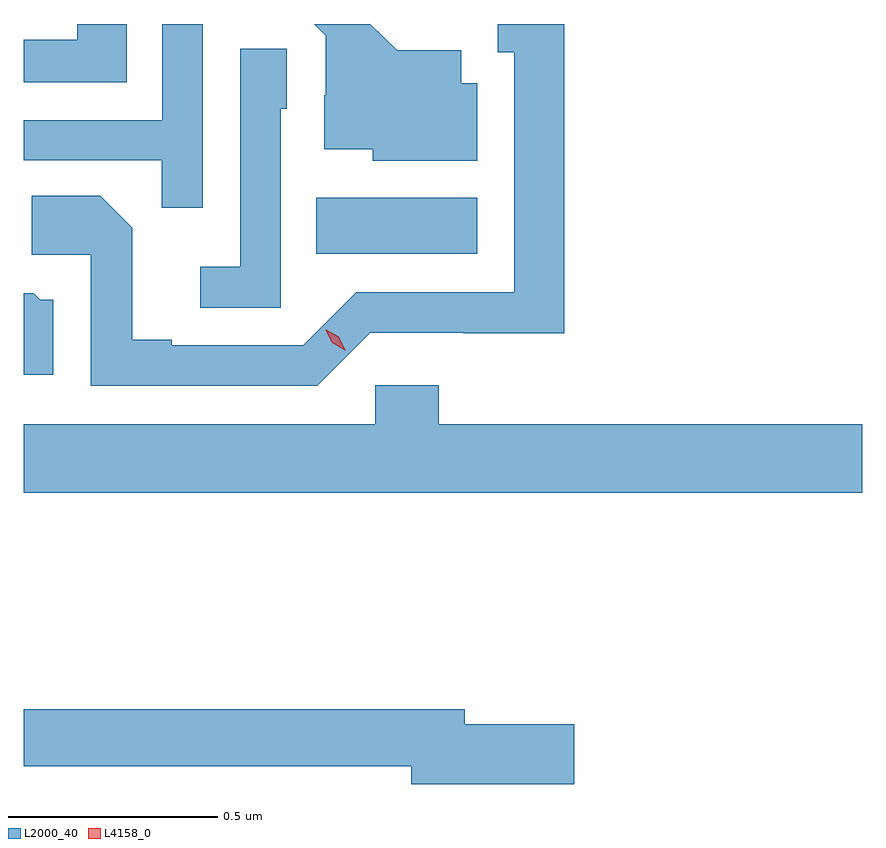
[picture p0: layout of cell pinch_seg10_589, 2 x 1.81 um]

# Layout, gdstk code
import gdstk
lib = gdstk.Library(unit=1e-6, precision=1e-09)
def R(c, l, rs):  # rectangles x0, y0, x1, y1
    for r in rs: c.add(gdstk.rectangle(r[:2], r[2:], *l))
def P(c, l, *ps):  # polygons
    for p in ps: c.add(gdstk.Polygon(p, *l))
L2000_40 = (2000, 40)
L4158_0 = (4158, 0)

pinch_seg10_589 = lib.new_cell('pinch_seg10_589')
R(pinch_seg10_589, L2000_40, [(339.388,1256.93,339.772,1257.064)])
P(pinch_seg10_589, L2000_40, [(339.516,1256.742),(339.738,1256.742),(339.738,1256.741),(339.979,1256.741),(339.979,1257.478),(339.821,1257.478),(339.821,1257.411),(339.86,1257.411),(339.86,1256.838),(339.483,1256.838),(339.357,1256.712),(339.043,1256.712),(339.043,1256.725),(338.949,1256.725),(338.949,1256.992),(338.873,1257.068),(338.709,1257.068),(338.709,1256.928),(338.85,1256.928),(338.85,1256.616),(339.39,1256.616)],
  [(339.117,1257.478),(339.021,1257.478),(339.021,1257.249),(338.69,1257.249),(338.69,1257.153),(339.019,1257.153),(339.019,1257.04),(339.117,1257.04)],
  [(339.772,1257.337),(339.733,1257.337),(339.733,1257.415),(339.581,1257.415),(339.517,1257.478),(339.383,1257.478),(339.411,1257.45),(339.411,1257.308),(339.407,1257.308),(339.407,1257.179),(339.522,1257.179),(339.522,1257.152),(339.772,1257.152)],
  [(338.936,1257.478),(338.818,1257.478),(338.818,1257.44),(338.69,1257.44),(338.69,1257.339),(338.936,1257.339)],
  [(339.303,1257.276),(339.318,1257.276),(339.318,1257.419),(339.207,1257.419),(339.207,1256.899),(339.111,1256.899),(339.111,1256.802),(339.303,1256.802)],
  [(338.761,1256.82),(338.73,1256.82),(338.714,1256.836),(338.69,1256.836),(338.69,1256.642),(338.761,1256.642)],
  [(340.69,1256.524),(339.68,1256.524),(339.68,1256.617),(339.528,1256.617),(339.528,1256.524),(338.69,1256.524),(338.69,1256.36),(340.69,1256.36)],
  [(340.003,1255.808),(339.742,1255.808),(339.742,1255.844),(338.69,1255.844),(338.69,1255.708),(339.614,1255.708),(339.614,1255.666),(340.003,1255.666)])
P(pinch_seg10_589, L4158_0, [(339.458,1256.699),(339.426,1256.718),(339.409,1256.75),(339.409,1256.75),(339.409,1256.75),(339.441,1256.732),(339.458,1256.699),(339.458,1256.699)])

lib.write_gds('pinch_seg10_589.gds')
